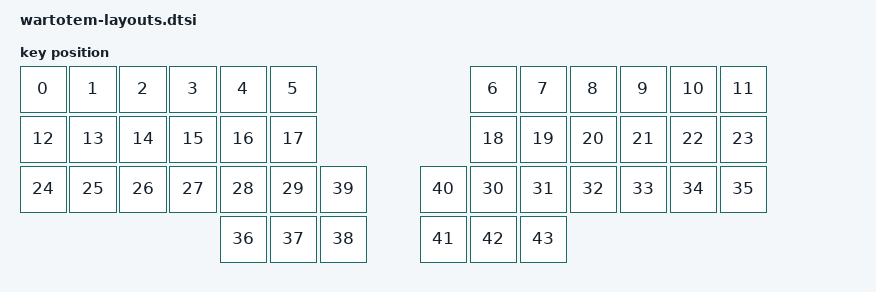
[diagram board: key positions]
#include <physical_layouts.dtsi>

/ {
    physical_layout_wartotem: physical_layout_wartotem {
        compatible = "zmk,physical-layout";
        display-name = "wartotem";
        keys  //                     w   h    x    y     rot    rx    ry
            = <&key_physical_attrs 100 100  800(-100)       0   800(-100)>
            , <&key_physical_attrs 100 100  900(-100)       0   900(-100)>
            , <&key_physical_attrs 100 100 1000(-100)       0  1000(-100)>
            , <&key_physical_attrs 100 100 1100(-100)       0  1100(-100)>
            , <&key_physical_attrs 100 100 1200(-100)       0  1200(-100)>
            , <&key_physical_attrs 100 100 1600(-100)       0  1600(-100)>
            , <&key_physical_attrs 100 100 1700(-100)       0  1700(-100)>
            , <&key_physical_attrs 100 100 1800(-100)       0  1800(-100)>
            , <&key_physical_attrs 100 100 1900(-100)       0  1900(-100)>
            , <&key_physical_attrs 100 100 2000(-100)       0  2000(-100)>
            , <&key_physical_attrs 100 100  700    0       0   700     0>
            , <&key_physical_attrs 100 100  800    0       0   800     0>
            , <&key_physical_attrs 100 100  900    0       0   900     0>
            , <&key_physical_attrs 100 100 1000    0       0  1000     0>
            , <&key_physical_attrs 100 100 1100    0       0  1100     0>
            , <&key_physical_attrs 100 100 1200    0       0  1200     0>
            , <&key_physical_attrs 100 100 1600    0       0  1600     0>
            , <&key_physical_attrs 100 100 1700    0       0  1700     0>
            , <&key_physical_attrs 100 100 1800    0       0  1800     0>
            , <&key_physical_attrs 100 100 1900    0       0  1900     0>
            , <&key_physical_attrs 100 100 2000    0       0  2000     0>
            , <&key_physical_attrs 100 100 2100    0       0  2100     0>
            , <&key_physical_attrs 100 100  700  100       0   700   100>
            , <&key_physical_attrs 100 100  800  100       0   800   100>
            , <&key_physical_attrs 100 100  900  100       0   900   100>
            , <&key_physical_attrs 100 100 1000  100       0  1000   100>
            , <&key_physical_attrs 100 100 1100  100       0  1100   100>
            , <&key_physical_attrs 100 100 1200  100       0  1200   100>
            , <&key_physical_attrs 100 100 1600  100       0  1600   100>
            , <&key_physical_attrs 100 100 1700  100       0  1700   100>
            , <&key_physical_attrs 100 100 1800  100       0  1800   100>
            , <&key_physical_attrs 100 100 1900  100       0  1900   100>
            , <&key_physical_attrs 100 100 2000  100       0  2000   100>
            , <&key_physical_attrs 100 100 2100  100       0  2100   100>
            , <&key_physical_attrs 100 100  700  200       0   700   200>
            , <&key_physical_attrs 100 100  800  200       0   800   200>
            , <&key_physical_attrs 100 100  900  200       0   900   200>
            , <&key_physical_attrs 100 100 1000  200       0  1000   200>
            , <&key_physical_attrs 100 100 1100  200       0  1100   200>
            , <&key_physical_attrs 100 100 1200  200       0  1200   200>
            , <&key_physical_attrs 100 100 1600  200       0  1600   200>
            , <&key_physical_attrs 100 100 1700  200       0  1700   200>
            , <&key_physical_attrs 100 100 1800  200       0  1800   200>
            , <&key_physical_attrs 100 100 1900  200       0  1900   200>
            , <&key_physical_attrs 100 100 2000  200       0  2000   200>
            , <&key_physical_attrs 100 100 2100  200       0  2100   200>
            , <&key_physical_attrs 100 100 1100  300       0  1100   300>
            , <&key_physical_attrs 100 100 1200  300       0  1200   300>
            , <&key_physical_attrs 100 100 1300  300       0  1300   300>
            , <&key_physical_attrs 100 100 1300  200       0  1300   200>
            , <&key_physical_attrs 100 100 1500  200       0  1500   200>
            , <&key_physical_attrs 100 100 1500  300       0  1500   300>
            , <&key_physical_attrs 100 100 1600  300       0  1600   300>
            , <&key_physical_attrs 100 100 1700  300       0  1700   300>
            ;
    };
};
